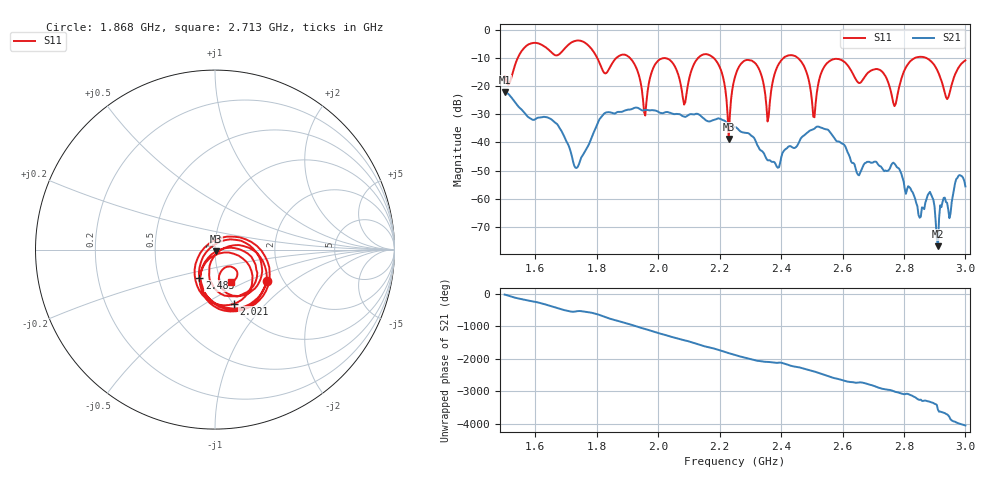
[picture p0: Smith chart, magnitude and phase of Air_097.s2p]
# HZ S RI R 50
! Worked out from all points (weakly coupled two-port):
!   404 points, 1.5 GHz to 3 GHz, reference 50 ohm
!   highest |S21| = -21.98 dB at 1.5 GHz (marker M1); lowest = -77.0 dB at 2.911 GHz (marker M2)
!   lowest |S11| = -38.7 dB at 2.23 GHz (marker M3), VSWR 1.02, Z = 50.5 - j1.04 ohm
!   |S11| at or under -10 dB: 2.182 GHz to 2.407 GHz (224.8 MHz wide, 9.8 % of centre); 2.456 GHz to 2.833 GHz (377 MHz wide, 14.3 % of centre); 2.875 GHz to end of sweep (the widest 3 of 7)
!   S12 and S22 are empty: the file has one direction only
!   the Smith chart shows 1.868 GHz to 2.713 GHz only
!   S11 on the Smith chart (normalised r, x): 1.868 GHz: 1.65, -0.65; 2.021 GHz: 1.00, -0.68; 2.483 GHz: 0.80, -0.26; 2.713 GHz: 1.11, -0.42
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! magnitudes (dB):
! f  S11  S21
! 1.5 GHz  -16.3  -22.0
! 1.753 GHz  -3.9  -44.8
! 1.868 GHz  -9.4  -29.1
! 1.958 GHz  -30.4  -28.4
! 2.002 GHz  -10.6  -29.2
! 2.021 GHz  -9.9  -29.3
! 2.084 GHz  -26.5  -30.7
! 2.177 GHz  -9.6  -32.1
! 2.23 GHz  -38.7  -33.5
! 2.252 GHz  -15.9  -34.5
! 2.315 GHz  -11.7  -39.0
! 2.356 GHz  -32.5  -46.4
! 2.39 GHz  -12.6  -49.0
! 2.483 GHz  -14.9  -36.7
! 2.501 GHz  -25.9  -35.4
! 2.565 GHz  -10.5  -37.1
! 2.713 GHz  -13.8  -47.4
! 2.751 GHz  -19.2  -49.8
! 2.888 GHz  -11.1  -58.5
! 2.911 GHz  -14.8  -77.0
! 2.94 GHz  -24.5  -61.5
! 3 GHz  -10.7  -55.7
